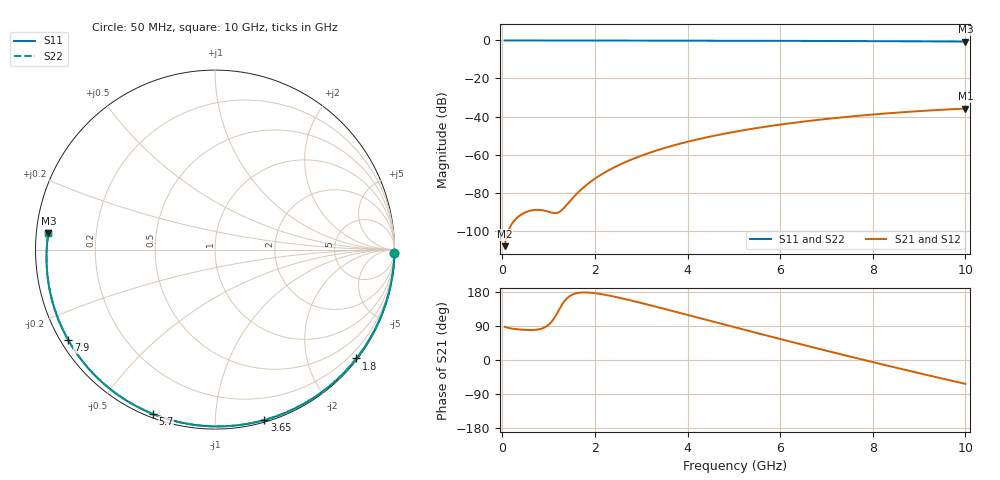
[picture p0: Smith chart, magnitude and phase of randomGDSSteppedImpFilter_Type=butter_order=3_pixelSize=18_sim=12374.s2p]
! freq	dB(S11)	phase(S11)	dB(S12)	phase(S12)
!  dB(S21)	phase(S21)	dB(S22)	phase(S22)
!S-par simulation data
#  GHz  S  DB  R 50
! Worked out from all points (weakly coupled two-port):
!   200 points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, 50 MHz to 10 GHz, reference 50 ohm
!   highest |S21| = -35.82 dB at 10 GHz (marker M1); lowest = -108.2 dB at 50 MHz (marker M2)
!   lowest |S11| = -0.6 dB at 10 GHz (marker M3), VSWR 28.91, Z = 1.73 + j2.48 ohm
!   |S11| at or under -10 dB: nowhere
!   |S22| runs from -0.6 to 0.0 dB; largest |S21 - S12| = 0
!   S11 on the Smith chart (normalised r, x): 50 MHz: open; 1.8 GHz: 0.03, -2.94; 3.65 GHz: 0.02, -1.33; 5.7 GHz: 0.02, -0.69; 7.9 GHz: 0.02, -0.28; 10 GHz: 0.03, +0.05
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0.05  -0.00 -1.1  -108.17 87.7  -108.17 87.7  -0.00 -1.1
0.4  -0.01 -8.5  -91.68 80.2  -91.68 80.2  -0.01 -8.5
0.8  -0.02 -16.9  -89.09 81.2  -89.09 81.2  -0.02 -16.9
1.6  -0.04 -33.5  -80.78 176.1  -80.78 176.1  -0.04 -33.5
1.65  -0.04 -34.5  -79.58 177.3  -79.58 177.3  -0.04 -34.5
1.75  -0.05 -36.6  -77.35 178.3  -77.35 178.3  -0.05 -36.6
1.8  -0.05 -37.6  -76.32 178.3  -76.32 178.3  -0.05 -37.6
2.1  -0.06 -43.7  -71.07 174.6  -71.07 174.6  -0.06 -43.7
2.45  -0.06 -50.7  -66.32 166.3  -66.32 166.3  -0.06 -50.7
2.9  -0.08 -59.5  -61.53 153.5  -61.53 153.5  -0.08 -59.5
3.4  -0.09 -69.1  -57.32 138.1  -57.32 138.1  -0.09 -69.1
3.65  -0.10 -73.9  -55.52 130.2  -55.52 130.2  -0.10 -73.9
4.35  -0.12 -86.8  -51.27 107.8  -51.27 107.8  -0.12 -86.8
5.05  -0.15 -99.4  -47.88 85.4  -47.88 85.4  -0.15 -99.4
5.7  -0.19 -110.8  -45.30 64.8  -45.30 64.8  -0.19 -110.8
6.2  -0.22 -119.4  -43.59 49.1  -43.59 49.1  -0.22 -119.4
6.7  -0.25 -127.9  -42.09 33.7  -42.09 33.7  -0.25 -127.9
7.3  -0.30 -138.1  -40.51 15.4  -40.51 15.4  -0.30 -138.1
7.9  -0.35 -148.3  -39.15 -2.6  -39.15 -2.6  -0.35 -148.3
8.35  -0.40 -156.0  -38.26 -15.9  -38.26 -15.9  -0.40 -156.0
9.2  -0.49 -171.0  -36.85 -40.5  -36.85 -40.5  -0.49 -171.0
10  -0.60 174.3  -35.82 -63.0  -35.82 -63.0  -0.60 174.3
